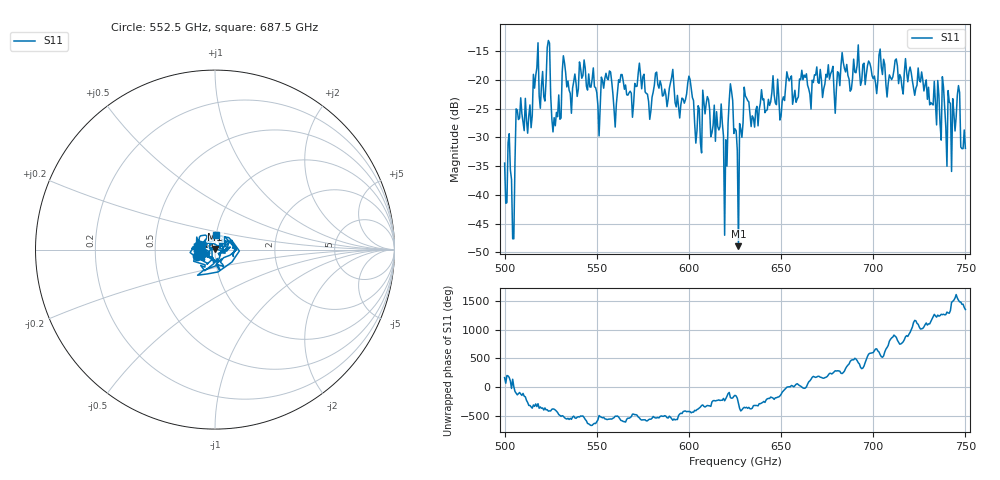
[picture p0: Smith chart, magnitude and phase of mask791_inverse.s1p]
!Created with skrf (http://scikit-rf.org).
# GHz S MA R 50.0
!freq magS11 angS11
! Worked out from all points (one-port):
!   401 points, 500 GHz to 750 GHz, reference 50 ohm
!   lowest |S11| = -48.9 dB at 626.9 GHz (marker M1), VSWR 1.01, Z = 50 + j0.355 ohm
!   |S11| at or under -10 dB: start of sweep to end of sweep
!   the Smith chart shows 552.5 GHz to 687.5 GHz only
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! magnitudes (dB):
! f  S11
! 500 GHz  -34.5
! 504.4 GHz  -47.6
! 507.5 GHz  -26.9
! 513.8 GHz  -24.4
! 516.9 GHz  -19.3
! 520.6 GHz  -18.6
! 523.8 GHz  -13.2
! 526.9 GHz  -26.6
! 531.2 GHz  -18.6
! 560 GHz  -28.2
! 562.5 GHz  -20.4
! 593.8 GHz  -22.7
! 600.6 GHz  -19.9
! 605.6 GHz  -25.0
! 608.8 GHz  -25.9
! 617.5 GHz  -24.2
! 619.4 GHz  -47.0
! 622.5 GHz  -20.7
! 625 GHz  -28.5
! 626.9 GHz  -48.9
! 631.2 GHz  -23.2
! 634.4 GHz  -26.3
! 656.2 GHz  -24.3
! 687.5 GHz  -22.0
! 718.8 GHz  -20.3
! 741.2 GHz  -23.9
! 745.6 GHz  -22.7
! 750 GHz  -31.9
